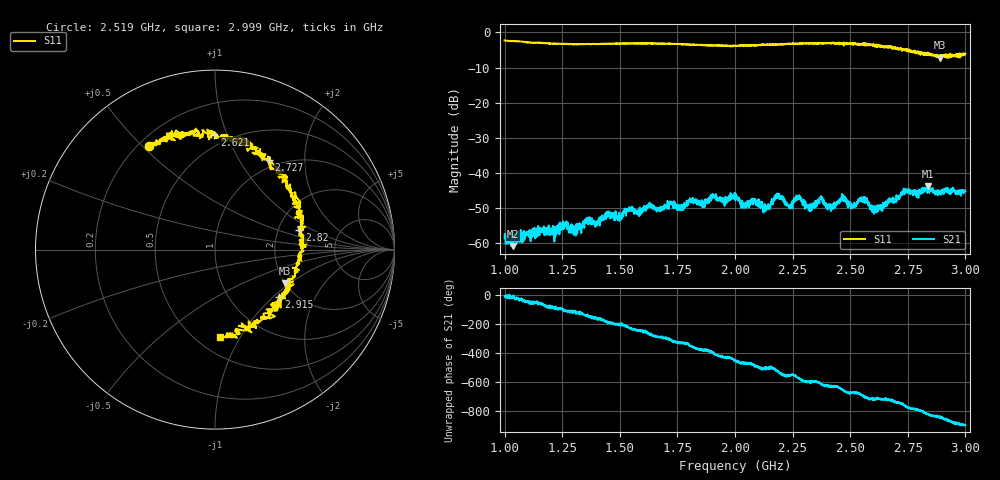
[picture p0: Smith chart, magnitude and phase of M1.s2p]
# HZ S RI R 50
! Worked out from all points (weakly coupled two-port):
!   2020 points, 1 GHz to 3 GHz, reference 50 ohm
!   highest |S21| = -43.72 dB at 2.839 GHz (marker M1); lowest = -60.8 dB at 1.035 GHz (marker M2)
!   lowest |S11| = -7.2 dB at 2.888 GHz (marker M3), VSWR 2.54, Z = 99.9 - j46.5 ohm
!   |S11| at or under -10 dB: nowhere
!   S12 and S22 are empty: the file has one direction only
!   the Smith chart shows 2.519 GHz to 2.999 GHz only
!   S11 on the Smith chart (normalised r, x): 2.519 GHz: 0.24, +0.52; 2.621 GHz: 0.42, +0.90; 2.727 GHz: 0.90, +1.35; 2.82 GHz: 2.62, +0.75; 2.915 GHz: 1.66, -1.08; 2.999 GHz: 0.65, -0.82
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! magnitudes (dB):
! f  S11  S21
! 1 GHz  -2.3  -58.5
! 1.035 GHz  -2.5  -60.8
! 1.334 GHz  -3.3  -55.1
! 1.668 GHz  -3.2  -50.4
! 2 GHz  -3.9  -46.6
! 2.129 GHz  -3.5  -48.8
! 2.184 GHz  -3.5  -46.8
! 2.233 GHz  -3.4  -49.5
! 2.276 GHz  -3.2  -46.8
! 2.334 GHz  -3.2  -50.0
! 2.47 GHz  -3.1  -47.8
! 2.519 GHz  -3.3  -49.0
! 2.552 GHz  -3.5  -48.0
! 2.621 GHz  -3.9  -50.8
! 2.667 GHz  -4.0  -48.1
! 2.727 GHz  -4.7  -45.6
! 2.82 GHz  -6.3  -45.3
! 2.839 GHz  -6.3  -43.7
! 2.888 GHz  -7.2  -45.2
! 2.915 GHz  -7.1  -45.0
! 2.999 GHz  -6.3  -45.0
! 3 GHz  -6.1  -45.1
